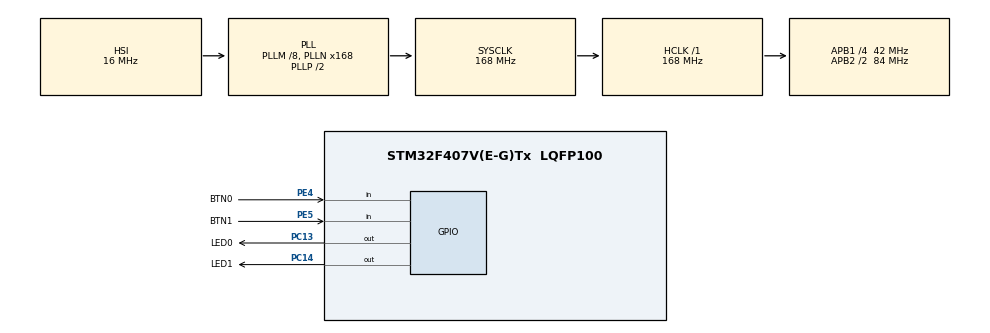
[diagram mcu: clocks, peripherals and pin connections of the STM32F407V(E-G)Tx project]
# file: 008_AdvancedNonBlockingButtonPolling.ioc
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Mcu.Family=STM32F4
Mcu.Name=STM32F407V(E-G)Tx
Mcu.Package=LQFP100
NVIC.PriorityGroup=NVIC_PRIORITYGROUP_4
PC13-ANTI_TAMP.GPIO_Label=LED0
PC13-ANTI_TAMP.Signal=GPIO_Output
PC14-OSC32_IN.GPIO_Label=LED1
PC14-OSC32_IN.Signal=GPIO_Output
PE4.GPIO_Label=BTN0
PE4.Signal=GPIO_Input
PE5.GPIO_Label=BTN1
PE5.Signal=GPIO_Input
ProjectManager.HeapSize=0x200
ProjectManager.StackSize=0x400
ProjectManager.TargetToolchain=EWARM V8.50
RCC.48MHZClocksFreq_Value=84000000
RCC.AHBFreq_Value=168000000
RCC.APB1CLKDivider=RCC_HCLK_DIV4
RCC.APB1Freq_Value=42000000
RCC.APB1TimFreq_Value=84000000
RCC.APB2CLKDivider=RCC_HCLK_DIV2
RCC.APB2Freq_Value=84000000
RCC.APB2TimFreq_Value=168000000
RCC.CortexFreq_Value=168000000
RCC.HCLKFreq_Value=168000000
RCC.HSE_VALUE=25000000
RCC.HSI_VALUE=16000000
RCC.LSE_VALUE=32768
RCC.PLLM=8
RCC.PLLN=168
RCC.SYSCLKFreq_VALUE=168000000
RCC.SYSCLKSource=RCC_SYSCLKSOURCE_PLLCLK
RCC.VCOOutputFreq_Value=336000000
board=custom

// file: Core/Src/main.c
/* USER CODE BEGIN Header */
/**
  ******************************************************************************
  * @file           : main.c
  * @brief          : Main program body
  ******************************************************************************
  * @attention
  *
  * Copyright (c) 2026 STMicroelectronics.
  * All rights reserved.
  *
  * This software is licensed under terms that can be found in the LICENSE file
  * in the root directory of this software component.
  * If no LICENSE file comes with this software, it is provided AS-IS.
  *
  ******************************************************************************
  */
/* USER CODE END Header */
#include "main.h"
#include "gpio.h"

/* USER CODE BEGIN PTD */

typedef enum {
   KEY_STATE_HOLD         = 0x00,
   KEY_STATE_RELEASED     = 0x01,
   KEY_STATE_PRESSED      = 0x02,
   KEY_STATE_NONE         = 0x03,
} Key_State;

typedef struct {
  GPIO_TypeDef*           GPIO;
  uint16_t                Pin;
} Key_PinConfig;

struct __Key;
typedef struct __Key Key;

typedef uint8_t (*Key_CallBackFN)(Key* key, Key_State state);

typedef union {
  Key_CallBackFN        fn[4];
  struct {
    Key_CallBackFN      onHOLD;
    Key_CallBackFN      onRELEASED;
    Key_CallBackFN      onPRESSED;
    Key_CallBackFN      onNONE;
  };
} Key_CallBacks;

struct __Key {
  const Key_PinConfig*    Config;
  Key_CallBacks           CallBacks;
  Key_State               State;
  uint8_t                 Handled;
};

/* USER CODE END PTD */

/* USER CODE BEGIN PD */

#define KEY_SAMPLE_PERIOD       50 //ms

/* USER CODE END PD */

/* USER CODE BEGIN PV */

static const Key_PinConfig KEY_PIN_CONFIGS[] = {
  {BTN0_GPIO_Port, BTN0_Pin},
  {BTN1_GPIO_Port, BTN1_Pin}
};

uint16_t BlinkTimeout = 0;

/* USER CODE END PV */

void SystemClock_Config(void);
/* USER CODE BEGIN PFP */

void Key_init(Key* keys, const Key_PinConfig* configs, uint32_t len);
void Key_handle(Key* keys, uint32_t len);

uint8_t Btn0_onPRESSED(Key* key,Key_State state);

uint8_t Btn1_onPRESSED(Key* key,Key_State state);
uint8_t Btn1_onHOLD(Key* key,Key_State state);
uint8_t Btn1_onRELEASED(Key* key,Key_State state);

/* USER CODE END PFP */

int main(void)
{

  /* USER CODE BEGIN 1 */
  uint32_t keyNextSample = 0;
  Key keys[2];
  /* USER CODE END 1 */

  /* MCU Configuration--------------------------------------------------------*/

  /* Reset of all peripherals, Initializes the Flash interface and the Systick. */
  HAL_Init();

  /* Configure the system clock */
  SystemClock_Config();

  /* Initialize all configured peripherals */
  MX_GPIO_Init();
  /* USER CODE BEGIN 2 */

  Key_init(keys, KEY_PIN_CONFIGS, 2);

  keys[0].CallBacks.onPRESSED = Btn0_onPRESSED;

  keys[1].CallBacks.onPRESSED = Btn1_onPRESSED;
  keys[1].CallBacks.onHOLD = Btn1_onHOLD;
  keys[1].CallBacks.onRELEASED = Btn1_onRELEASED;

  /* USER CODE END 2 */

  /* Infinite loop */
  /* USER CODE BEGIN WHILE */
  while (1)
  {
    if (keyNextSample <= HAL_GetTick()) {
      keyNextSample = HAL_GetTick() + KEY_SAMPLE_PERIOD;
      // Check key state
      Key_handle(keys, 2);
    }
    /* USER CODE END WHILE */

  }
}

void SystemClock_Config(void)
{
  RCC_OscInitTypeDef RCC_OscInitStruct = {0};
  RCC_ClkInitTypeDef RCC_ClkInitStruct = {0};

  /** Configure the main internal regulator output voltage
  */
  __HAL_RCC_PWR_CLK_ENABLE();
  __HAL_PWR_VOLTAGESCALING_CONFIG(PWR_REGULATOR_VOLTAGE_SCALE1);

  /** Initializes the RCC Oscillators according to the specified parameters
  * in the RCC_OscInitTypeDef structure.
  */
  RCC_OscInitStruct.OscillatorType = RCC_OSCILLATORTYPE_HSI;
  RCC_OscInitStruct.HSIState = RCC_HSI_ON;
  RCC_OscInitStruct.HSICalibrationValue = RCC_HSICALIBRATION_DEFAULT;
  RCC_OscInitStruct.PLL.PLLState = RCC_PLL_ON;
  RCC_OscInitStruct.PLL.PLLSource = RCC_PLLSOURCE_HSI;
  RCC_OscInitStruct.PLL.PLLM = 8;
  RCC_OscInitStruct.PLL.PLLN = 168;
  RCC_OscInitStruct.PLL.PLLP = RCC_PLLP_DIV2;
  RCC_OscInitStruct.PLL.PLLQ = 4;
  if (HAL_RCC_OscConfig(&RCC_OscInitStruct) != HAL_OK)
  {
    Error_Handler();
  }

  /** Initializes the CPU, AHB and APB buses clocks
  */
  RCC_ClkInitStruct.ClockType = RCC_CLOCKTYPE_HCLK|RCC_CLOCKTYPE_SYSCLK
                              |RCC_CLOCKTYPE_PCLK1|RCC_CLOCKTYPE_PCLK2;
  RCC_ClkInitStruct.SYSCLKSource = RCC_SYSCLKSOURCE_PLLCLK;
  RCC_ClkInitStruct.AHBCLKDivider = RCC_SYSCLK_DIV1;
  RCC_ClkInitStruct.APB1CLKDivider = RCC_HCLK_DIV4;
  RCC_ClkInitStruct.APB2CLKDivider = RCC_HCLK_DIV2;

  if (HAL_RCC_ClockConfig(&RCC_ClkInitStruct, FLASH_LATENCY_5) != HAL_OK)
  {
    Error_Handler();
  }
}

/* USER CODE BEGIN 4 */

uint8_t Btn0_onPRESSED(Key* key,Key_State state) {
  HAL_GPIO_TogglePin(LED0_GPIO_Port, LED0_Pin);
  return 0;
}

uint8_t Btn1_onPRESSED(Key* key,Key_State state) {
  BlinkTimeout = HAL_GetTick() + 3000;        /*[AGE // RO BARADARI KHARAB MISHE]*/
  HAL_GPIO_WritePin(LED1_GPIO_Port, LED1_Pin, GPIO_PIN_SET);
  return 0;
}
uint8_t Btn1_onHOLD(Key* key,Key_State state) {
  HAL_GPIO_TogglePin(LED1_GPIO_Port, LED1_Pin);
  return BlinkTimeout <= HAL_GetTick();
}
uint8_t Btn1_onRELEASED(Key* key,Key_State state) {
  HAL_GPIO_WritePin(LED1_GPIO_Port, LED1_Pin, GPIO_PIN_RESET);
  return 0;
}

void Key_init(Key* keys, const Key_PinConfig* configs, uint32_t len) {
  while (len-- > 0) {
    keys->Config = configs;
    keys->State = KEY_STATE_NONE;
    keys++;
    configs++;
  }
}

void Key_handle(Key* keys, uint32_t len) {
  while (len-- > 0) {
    keys->State = ((keys->State << 1) | HAL_GPIO_ReadPin(keys->Config->GPIO, keys->Config->Pin)) & 3;

    if (!keys->Handled && keys->CallBacks.fn[keys->State] != NULL) {
      keys->Handled = keys->CallBacks.fn[keys->State](keys, keys->State);
    }
    else if (keys->State == KEY_STATE_NONE) {
      keys->Handled = 0;
    }

    keys++;
  }

}

/* USER CODE END 4 */

void Error_Handler(void)
{
  __disable_irq();
  while (1)
  {
  }
}
